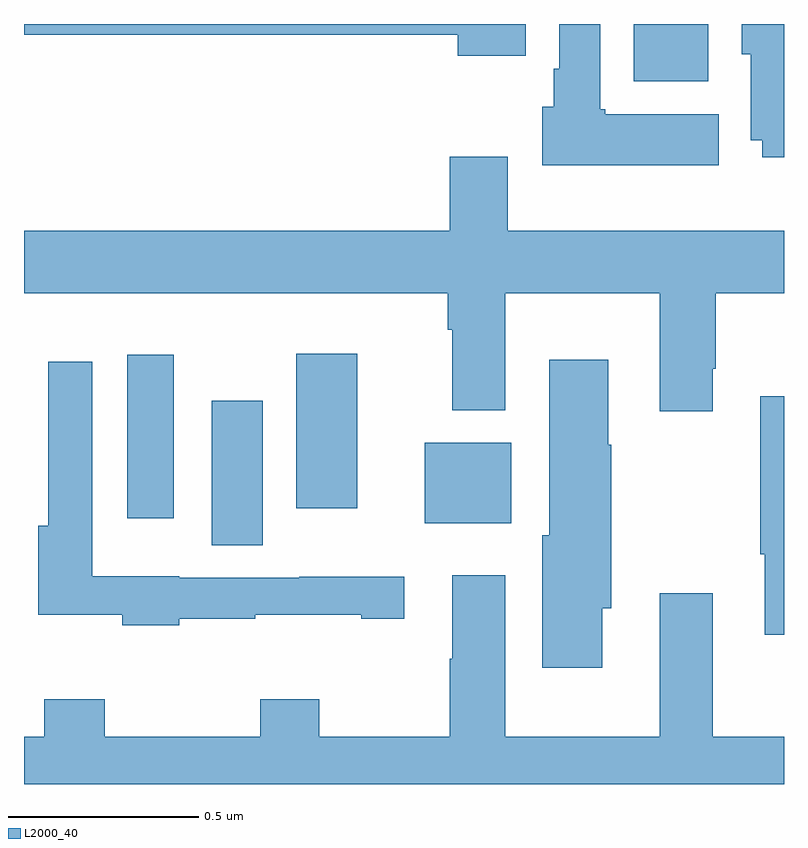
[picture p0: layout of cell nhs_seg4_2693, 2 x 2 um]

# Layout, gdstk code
import gdstk
lib = gdstk.Library(unit=1e-6, precision=1e-09)
def R(c, l, rs):  # rectangles x0, y0, x1, y1
    for r in rs: c.add(gdstk.rectangle(r[:2], r[2:], *l))
def P(c, l, *ps):  # polygons
    for p in ps: c.add(gdstk.Polygon(p, *l))
L2000_40 = (2000, 40)

nhs_seg4_2693 = lib.new_cell('nhs_seg4_2693')
R(nhs_seg4_2693, L2000_40, [(144.494,757.528,144.628,757.909), (145.055,757.586,145.282,757.798), (144.272,757.599,144.394,758.029), (144.716,757.626,144.877,758.032), (145.604,758.75,145.801,758.9)])
P(nhs_seg4_2693, L2000_40, [(145.321,758.9),(144,758.9),(144,758.872),(145.142,758.872),(145.142,758.816),(145.321,758.816)],
  [(145.828,758.662),(145.53,758.662),(145.53,758.676),(145.516,758.676),(145.516,758.9),(145.409,758.9),(145.409,758.782),(145.394,758.782),(145.394,758.682),(145.364,758.682),(145.364,758.528),(145.828,758.528)],
  [(146,758.9),(145.889,758.9),(145.889,758.82),(145.913,758.82),(145.913,758.594),(145.943,758.594),(145.943,758.55),(146,758.55)],
  [(145.813,757.993),(145.821,757.993),(145.821,758.192),(146,758.192),(146,758.356),(145.273,758.356),(145.273,758.551),(145.121,758.551),(145.121,758.356),(144,758.356),(144,758.192),(145.115,758.192),(145.115,758.096),(145.127,758.096),(145.127,757.883),(145.267,757.883),(145.267,758.192),(145.673,758.192),(145.673,757.881),(145.813,757.881)],
  [(145.522,757.362),(145.545,757.362),(145.545,757.793),(145.537,757.793),(145.537,758.017),(145.382,758.017),(145.382,757.554),(145.364,757.554),(145.364,757.206),(145.522,757.206)],
  [(144.408,757.335),(144.608,757.335),(144.608,757.345),(144.887,757.345),(144.887,757.335),(145,757.335),(145,757.445),(144.724,757.445),(144.724,757.443),(144.408,757.443),(144.408,757.447),(144.18,757.447),(144.18,758.011),(144.064,758.011),(144.064,757.579),(144.038,757.579),(144.038,757.346),(144.258,757.346),(144.258,757.318),(144.408,757.318)],
  [(146,757.921),(145.938,757.921),(145.938,757.505),(145.949,757.505),(145.949,757.293),(146,757.293)],
  [(146,757.024),(145.813,757.024),(145.813,757.402),(145.673,757.402),(145.673,757.024),(145.267,757.024),(145.267,757.45),(145.127,757.45),(145.127,757.229),(145.12,757.229),(145.12,757.024),(144.777,757.024),(144.777,757.123),(144.622,757.123),(144.622,757.024),(144.213,757.024),(144.213,757.123),(144.053,757.123),(144.053,757.024),(144,757.024),(144,756.9),(146,756.9)])

lib.write_gds('nhs_seg4_2693.gds')
